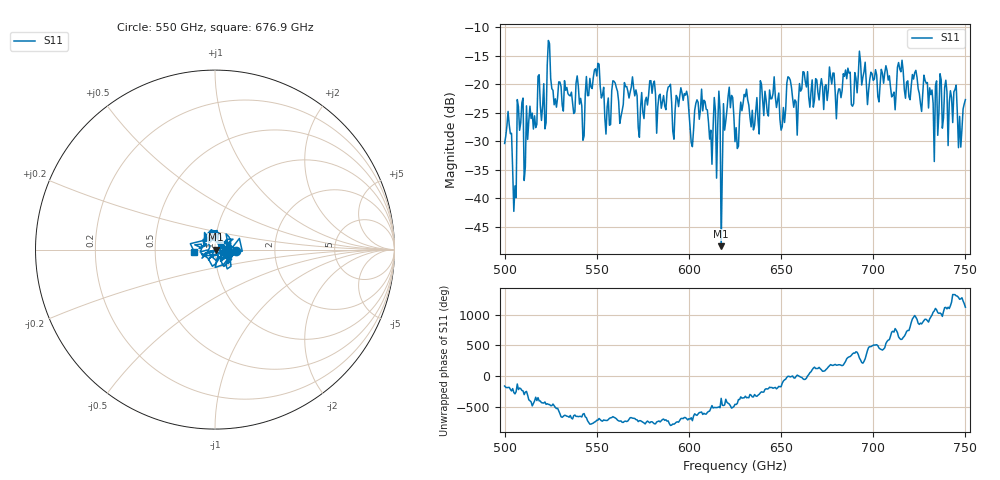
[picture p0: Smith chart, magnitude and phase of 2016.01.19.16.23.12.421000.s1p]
!Created with skrf (http://scikit-rf.org).
# GHz S RI R 50.0
!freq ReS11 ImS11
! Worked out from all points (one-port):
!   401 points, 500 GHz to 750 GHz, reference 50 ohm
!   lowest |S11| = -48.4 dB at 617.5 GHz (marker M1), VSWR 1.01, Z = 50.4 - j0.0422 ohm
!   |S11| at or under -10 dB: start of sweep to end of sweep
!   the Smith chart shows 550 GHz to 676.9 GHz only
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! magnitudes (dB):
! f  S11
! 500 GHz  -30.4
! 502.5 GHz  -27.1
! 505 GHz  -42.3
! 508.1 GHz  -28.1
! 511.9 GHz  -23.8
! 521.2 GHz  -19.9
! 524.4 GHz  -12.9
! 531.2 GHz  -23.7
! 541.9 GHz  -23.8
! 550 GHz  -18.6
! 555.6 GHz  -24.0
! 559.4 GHz  -19.5
! 562.5 GHz  -26.9
! 593.8 GHz  -22.4
! 598.8 GHz  -21.2
! 601.2 GHz  -30.3
! 608.1 GHz  -22.8
! 617.5 GHz  -48.4
! 622.5 GHz  -24.1
! 625 GHz  -30.1
! 656.2 GHz  -22.4
! 687.5 GHz  -17.9
! 711.2 GHz  -21.4
! 714.4 GHz  -17.3
! 718.8 GHz  -19.4
! 743.8 GHz  -21.3
! 746.9 GHz  -25.7
! 750 GHz  -22.7
